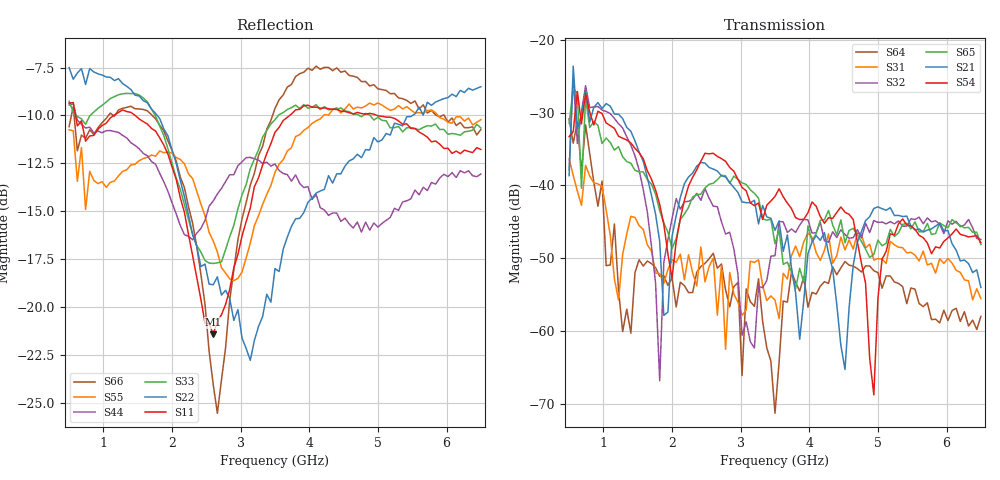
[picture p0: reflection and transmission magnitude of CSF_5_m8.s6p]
!Keysight Technologies,M9804A,MY58100912,A.14.10.03
!Date: Thursday, April 27, 2023 10:28:33
!Correction: S11(C  6-Port  )
!S12(C  6-Port  )
!S13(C  6-Port  )
!S14(C  6-Port  )
!S15(C  6-Port  )
!S16(C  6-Port  )
!S21(C  6-Port  )
!S22(C  6-Port  )
!S23(C  6-Port  )
!S24(C  6-Port  )
!S25(C  6-Port  )
!S26(C  6-Port  )
!S31(C  6-Port  )
!S32(C  6-Port  )
!S33(C  6-Port  )
!S34(C  6-Port  )
!S35(C  6-Port  )
!S36(C  6-Port  )
!S41(C  6-Port  )
!S42(C  6-Port  )
!S43(C  6-Port  )
!S44(C  6-Port  )
!S45(C  6-Port  )
!S46(C  6-Port  )
!S51(C  6-Port  )
!S52(C  6-Port  )
!S53(C  6-Port  )
!S54(C  6-Port  )
!S55(C  6-Port  )
!S56(C  6-Port  )
!S61(C  6-Port  )
!S62(C  6-Port  )
!S63(C  6-Port  )
!S64(C  6-Port  )
!S65(C  6-Port  )
!S66(C  6-Port  )
!S6P File: Measurement: :
# Hz S  RI  R 50
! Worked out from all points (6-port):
!   101 points, 500 MHz to 6.5 GHz, reference 50 ohm
!   strongest paths, dB at 500 MHz, 2 GHz, 3.5 GHz, 5 GHz, 6.5 GHz:
!     S54: -33.3, -52.7, -41.5, -55.5, -47.9
!     S21: -38.7, -47.0, -46.2, -42.9, -54.0
!     S65: -31.5, -48.7, -48.0, -47.5, -48.1
!     S32: -37.9, -44.6, -49.7, -45.1, -47.4
!     S31: -36.3, -50.2, -55.8, -50.1, -55.6
!     S64: -30.9, -52.7, -71.3, -52.0, -58.0
!   lowest |S11| = -21.4 dB at 2.6 GHz (marker M1), VSWR 1.19, Z = 42.5 + j2.27 ohm
!   |S11| at or under -10 dB: 593.2 MHz to 1.151 GHz (558.2 MHz wide, 64 % of centre); 1.463 GHz to 3.714 GHz (2.251 GHz wide, 87 % of centre); 4.987 GHz to end of sweep
